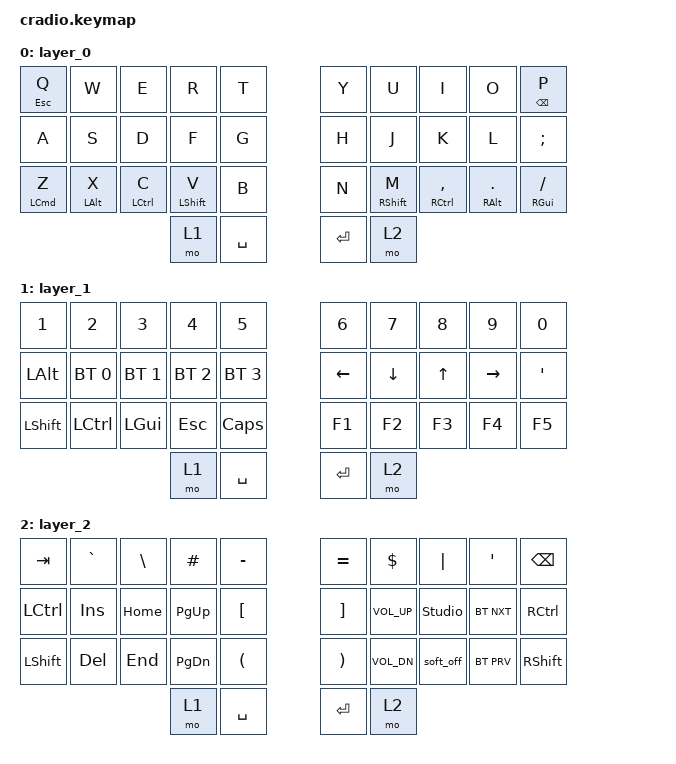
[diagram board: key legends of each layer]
#include <behaviors.dtsi>
#include <dt-bindings/zmk/bt.h>
#include <dt-bindings/zmk/keys.h>

/ {
    behaviors {
        /*
         * Home Row Mods (HRM) - Custom hold-tap behavior
         *
         * tapping-term-ms (280): Time in ms before a hold is triggered.
         *   Higher = easier to tap, harder to hold. Start here and adjust.
         *
         * quick-tap-ms (175): If you tap the key again within this time,
         *   it will always be a tap, never a hold. Enables fast repeated keys.
         *
         * require-prior-idle-ms (150): Won't trigger a hold unless your
         *   fingers have been idle for this long. Prevents accidental holds
         *   during fast typing (e.g., "the" won't trigger Ctrl).
         *
         * flavor "balanced": Hold triggers on key-up if another key was
         *   pressed, or on timeout. Good balance between tap and hold.
         */

        hm: homerow_mods {
            compatible = "zmk,behavior-hold-tap";
            #binding-cells = <2>;
            tapping-term-ms = <280>;
            quick-tap-ms = <175>;
            require-prior-idle-ms = <150>;
            flavor = "balanced";
            bindings = <&kp>, <&kp>;

        };
    };

    keymap {
        compatible = "zmk,keymap";

        layer_0 {
            bindings = <
&hm ESCAPE Q        &kp W           &kp E               &kp R             &kp T        &kp Y      &kp U              &kp I                    &kp O                 &hm BACKSPACE P
&kp A               &kp S           &kp D               &kp F             &kp G        &kp H      &kp J              &kp K                    &kp L                 &kp SEMI
&hm LEFT_COMMAND Z  &hm LEFT_ALT X  &hm LEFT_CONTROL C  &hm LEFT_SHIFT V  &kp B        &kp N      &hm RIGHT_SHIFT M  &hm RIGHT_CONTROL COMMA  &hm RIGHT_ALT PERIOD  &hm RIGHT_GUI SLASH
                                                        &mo 1             &kp SPACE    &kp ENTER  &mo 2
            >;
        };

        layer_1 {
            bindings = <
&kp N1     &kp N2        &kp N3        &kp N4        &kp N5          &kp N6          &kp N7          &kp N8        &kp N9           &kp N0
&kp LALT   &bt BT_SEL 0  &bt BT_SEL 1  &bt BT_SEL 2  &bt BT_SEL 3    &kp LEFT_ARROW  &kp DOWN_ARROW  &kp UP_ARROW  &kp RIGHT_ARROW  &kp SINGLE_QUOTE
&kp LSHFT  &kp LCTRL     &kp LGUI      &kp ESCAPE    &kp CAPS        &kp F1          &kp F2          &kp F3        &kp F4           &kp F5
                                       &mo 1         &kp SPACE       &kp ENTER       &mo 2
            >;
        };

        layer_2 {
            bindings = <
&kp TAB    &kp GRAVE   &kp BACKSLASH  &kp HASH       &kp MINUS               &kp EQUAL              &kp DOLLAR       &kp PIPE        &kp SINGLE_QUOTE  &kp BACKSPACE
&kp LCTRL  &kp INSERT  &kp HOME       &kp PAGE_UP    &kp LBKT                &kp RBKT               &kp C_VOLUME_UP  &studio_unlock  &bt BT_NXT        &kp RCTRL
&kp LSHFT  &kp DELETE  &kp END        &kp PAGE_DOWN  &kp LEFT_PARENTHESIS    &kp RIGHT_PARENTHESIS  &kp C_VOL_DN     &soft_off       &bt BT_PRV        &kp RSHFT
                                      &mo 1          &kp SPACE               &kp ENTER              &mo 2
            >;
        };
    };
};
